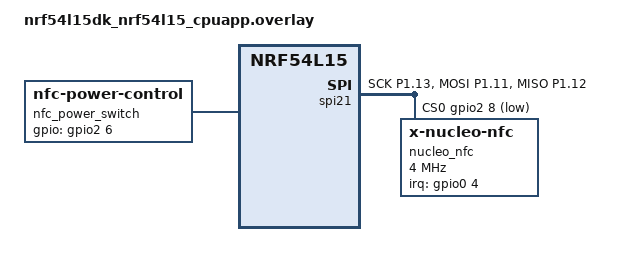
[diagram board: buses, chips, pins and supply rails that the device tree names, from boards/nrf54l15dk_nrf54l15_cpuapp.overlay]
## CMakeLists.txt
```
#
# Copyright (c) 2025 Nordic Semiconductor ASA
#
# SPDX-License-Identifier: LicenseRef-Nordic-5-Clause
#

cmake_minimum_required(VERSION 3.20.0)
find_package(Zephyr REQUIRED HINTS $ENV{ZEPHYR_BASE})

project(ncs-nfc-reader-async-sample)

target_sources(app PRIVATE src/main.c)
```

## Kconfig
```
#
# Copyright (c) 2025 Nordic Semiconductor ASA
#
# SPDX-License-Identifier: LicenseRef-Nordic-5-Clause
#

menu "Zephyr"
source "Kconfig.zephyr"
endmenu

config WORKER_POOL_TIMEOUT_MS
    int
    default 30

module = NCS_NFC_READER_SAMPLE
module-str = NCS_NFC_READER_SAMPLE
module-dep = LOG
module-help = Enables application log messages.
source "$(ZEPHYR_BASE)/subsys/logging/Kconfig.template.log_config"
```

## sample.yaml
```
sample:
  description: NFC reader sample application with notifications
  name: ncs-nfc-reader-async-sample
common:
  sysbuild: true
  build_only: true
  platform_allow: &platforms
    - nrf54l15dk/nrf54l15/cpuapp
  integration_platforms: *platforms
tests:
  app.nfc_reader_async: {}
```

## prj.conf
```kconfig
#
# Copyright (c) 2025 Nordic Semiconductor ASA
#
# SPDX-License-Identifier: LicenseRef-Nordic-5-Clause
#
# This file contains selected Kconfig options for the application.

# compiler
CONFIG_DEBUG_OPTIMIZATIONS=y

# logging
CONFIG_LOG=y
CONFIG_NCS_NFC_READER_SAMPLE_LOG_LEVEL_INF=y

# use NFC STM driver HAL
CONFIG_NFC_DRIVER_STM=y

# set RFAL configuration
CONFIG_RFAL_FEATURE_NFCA=y
CONFIG_RFAL_FEATURE_WAKEUP_MODE=y
CONFIG_RFAL_FEATURE_T4T=y
CONFIG_RFAL_FEATURE_ISO_DEP=y
CONFIG_RFAL_FEATURE_ISO_DEP_POLL=y

CONFIG_ASSERT=y
```

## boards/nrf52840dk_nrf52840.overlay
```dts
/*
 * Copyright (c) 2025 Nordic Semiconductor ASA
 *
 * SPDX-License-Identifier: LicenseRef-Nordic-5-Clause
 */

&pinctrl {
	spi0_default_alt: spi0_default_alt {
		group1 {
			psels = <NRF_PSEL(SPIM_SCK, 1, 15)>,
				<NRF_PSEL(SPIM_MOSI, 1, 13)>,
				<NRF_PSEL(SPIM_MISO, 1, 14)>;
		};
	};

	spi0_sleep_alt: spi0_sleep_alt {
		group1 {
			psels = <NRF_PSEL(SPIM_SCK, 1, 15)>,
				<NRF_PSEL(SPIM_MOSI, 1, 13)>,
				<NRF_PSEL(SPIM_MISO, 1, 14)>;
			low-power-enable;
		};
	};
};

&spi0 {
	compatible = "nordic,nrf-spi";
	status = "okay";
	cs-gpios = <&gpio1 12 GPIO_ACTIVE_LOW>;

	pinctrl-0 = <&spi0_default_alt>;
	pinctrl-1 = <&spi0_sleep_alt>;
	pinctrl-names = "default", "sleep";

	nucleo_nfc@0 {
		compatible = "x-nucleo-nfc";
		reg = <0>;
		spi-max-frequency = <DT_FREQ_M(4)>;
		spi-cs-setup-delay-ns = <1000>;
		spi-cs-hold-delay-ns = <1000>;
		irq-gpios = <&gpio0 3 GPIO_ACTIVE_HIGH>;
		led-nfca-gpios = <&gpio0 29 GPIO_ACTIVE_HIGH>;
	};
};
```

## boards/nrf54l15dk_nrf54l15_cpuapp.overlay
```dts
/*
 * Copyright (c) 2025 Nordic Semiconductor ASA
 *
 * SPDX-License-Identifier: LicenseRef-Nordic-5-Clause
 */

/{
	/* Disable buttons to avoid collision with interrupt and SCK pins for NFC tag reader. */
	/delete-node/ buttons;

	aliases {
		/delete-property/ sw0;
		/delete-property/ sw1;
		/delete-property/ sw2;
		/delete-property/ sw3;
	};
};

&pinctrl {
	spi21_default: spi21_default {
		group1 {
			psels = <NRF_PSEL(SPIM_SCK, 1, 13)>,
			        <NRF_PSEL(SPIM_MOSI, 1, 11)>,
			        <NRF_PSEL(SPIM_MISO, 1, 12)>;
		};
	};

	spi21_sleep: spi21_sleep {
		group1 {
			psels = <NRF_PSEL(SPIM_SCK, 1, 13)>,
			        <NRF_PSEL(SPIM_MOSI, 1, 11)>,
			        <NRF_PSEL(SPIM_MISO, 1, 12)>;
			low-power-enable;
		};
	};
};

&spi21 {
	compatible = "nordic,nrf-spim";
	status = "okay";
	cs-gpios = <&gpio2 8 GPIO_ACTIVE_LOW>;

	pinctrl-0 = <&spi21_default>;
	pinctrl-1 = <&spi21_sleep>;
	pinctrl-names = "default", "sleep";
	nucleo_nfc@0 {
		compatible = "x-nucleo-nfc";
		reg = <0>;
		spi-max-frequency = <DT_FREQ_M(4)>;
		irq-gpios = <&gpio0 4 GPIO_ACTIVE_HIGH>;
	};
};

/ {
	nfc_power_switch: nfc_power_switch {
		status = "okay";
		compatible = "nfc-power-control";
		gpios = <&gpio2 6 ( GPIO_ACTIVE_HIGH | GPIO_PULL_DOWN )>;
	};
};

&gpio0 {
	status = "okay";
};

&gpio1 {
	status = "okay";
};

&gpio2 {
	status = "okay";
};
```

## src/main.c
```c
/*
 * Copyright (c) 2025 Nordic Semiconductor ASA
 *
 * SPDX-License-Identifier: LicenseRef-Nordic-5-Clause
 */

#include <stdlib.h>

#include <zephyr/kernel.h>
#include <zephyr/logging/log.h>

#include "ncs_pal_semaphore.h"
#include <rfal_ncs_pal.h>
#include <rfal_nfc.h>
#include <rfal_nfc_config.h>
#include <rfal_utils.h>

#include "ncs_pal_nfc_worker.h"

LOG_MODULE_REGISTER(app, CONFIG_NCS_NFC_READER_SAMPLE_LOG_LEVEL);

// NFC reader configuration
static rfalNfcDiscoverParam nfc_conf;

static void set_discovery_state()
{
	ReturnCode rc = RFAL_ERR_NONE;

	if (rfalNfcGetState() > RFAL_NFC_STATE_IDLE) {
		rc = rfalNfcDeactivate(RFAL_NFC_DEACTIVATE_IDLE);
		if (rc) {
			LOG_ERR("RFAL: NFC deactivation failed, return code: %d", rc);
			return;
		}
	}

	rc = rfalNfcDiscover(&nfc_conf);
	if (rc) {
		LOG_ERR("RFAL: NFC discovery failed, return code: %d", rc);
		return;
	}
}

static void notify_cb(rfalNfcState state)
{
	LOG_INF("Notify state: %d", state);

	if (state == RFAL_NFC_STATE_ACTIVATED) {
		rfalNfcDevice *nfcDevice;

		rfalNfcGetActiveDevice(&nfcDevice);

		LOG_INF("Device type = %d", nfcDevice->type);

		switch (nfcDevice->type) {
		case RFAL_NFC_LISTEN_TYPE_NFCA:

			switch (nfcDevice->dev.nfca.type) {
			case RFAL_NFCA_T4T:
				LOG_HEXDUMP_INF(nfcDevice->nfcid, nfcDevice->nfcidLen,
						"NFCA Passive ISO-DEP device found. UID: ");
				set_discovery_state();
				break;

			default:
				LOG_INF("Unsupported NFC tag");
				break;
			}
			break;

		default:
			break;
		}
	}
}

static ReturnCode rfal_nfc_init(void)
{
	ReturnCode rc = rfalNfcInitialize();

	if (rc) {
		LOG_ERR("RFAL init failed, return code: %d", rc);
		return rc;
	}

	// Set default discovery parameters.
	rfalNfcDefaultDiscParams(&nfc_conf);
	// Set wake-up configuration.
	rfalNfcWakeupConfig(&nfc_conf);
	// Set only NFC-A technology Flag.
	nfc_conf.techs2Find |= RFAL_NFC_POLL_TECH_A;
	nfc_conf.notifyCb = notify_cb;

	set_discovery_state();

	return rc;
}

static void nfc_worker_fn(void *, void *, void *)
{
	while (true) {
		rfalNfcWorker();
		ncs_pal_take_semaphore(K_MSEC(CONFIG_WORKER_POOL_TIMEOUT_MS));
	}
}

int main()
{
	LOG_INF("NCS NFC reader sample application");

	if (rfal_ncs_pal_init()) {
		LOG_ERR("NFC PAL init failed");
		return -1;
	}

	if (rfal_nfc_init()) {
		LOG_ERR("RFAL init failed");
		return -1;
	}

	ncs_pal_nfc_worker_start(nfc_worker_fn);
	return 0;
}
```
